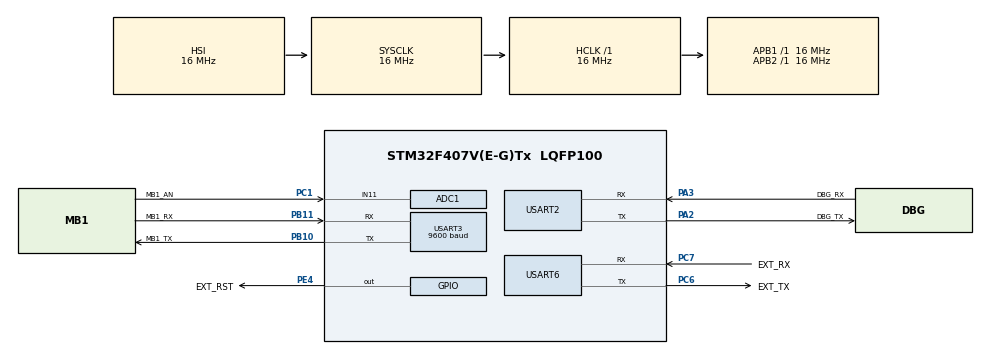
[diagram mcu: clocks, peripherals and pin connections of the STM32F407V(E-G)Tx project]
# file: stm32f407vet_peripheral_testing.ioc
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ADC1.Channel-0\#ChannelRegularConversion=ADC_CHANNEL_11
ADC1.NbrOfConversionFlag=1
ADC1.Rank-0\#ChannelRegularConversion=1
ADC1.SamplingTime-0\#ChannelRegularConversion=ADC_SAMPLETIME_3CYCLES
ADC1.master=1
Dma.Request0=USART2_TX
Dma.Request1=USART6_TX
Dma.Request2=USART3_RX
Dma.Request3=USART6_RX
Dma.USART2_TX.0.Direction=DMA_MEMORY_TO_PERIPH
Dma.USART2_TX.0.FIFOMode=DMA_FIFOMODE_ENABLE
Dma.USART2_TX.0.FIFOThreshold=DMA_FIFO_THRESHOLD_FULL
Dma.USART2_TX.0.Instance=DMA1_Stream6
Dma.USART2_TX.0.MemBurst=DMA_MBURST_SINGLE
Dma.USART2_TX.0.MemDataAlignment=DMA_MDATAALIGN_BYTE
Dma.USART2_TX.0.MemInc=DMA_MINC_ENABLE
Dma.USART2_TX.0.Mode=DMA_NORMAL
Dma.USART2_TX.0.PeriphBurst=DMA_PBURST_SINGLE
Dma.USART2_TX.0.PeriphDataAlignment=DMA_PDATAALIGN_BYTE
Dma.USART2_TX.0.PeriphInc=DMA_PINC_DISABLE
Dma.USART2_TX.0.Priority=DMA_PRIORITY_LOW
Dma.USART3_RX.2.Direction=DMA_PERIPH_TO_MEMORY
Dma.USART3_RX.2.FIFOMode=DMA_FIFOMODE_ENABLE
Dma.USART3_RX.2.FIFOThreshold=DMA_FIFO_THRESHOLD_FULL
Dma.USART3_RX.2.Instance=DMA1_Stream1
Dma.USART3_RX.2.MemBurst=DMA_MBURST_SINGLE
Dma.USART3_RX.2.MemDataAlignment=DMA_MDATAALIGN_BYTE
Dma.USART3_RX.2.MemInc=DMA_MINC_ENABLE
Dma.USART3_RX.2.Mode=DMA_NORMAL
Dma.USART3_RX.2.PeriphBurst=DMA_PBURST_SINGLE
Dma.USART3_RX.2.PeriphDataAlignment=DMA_PDATAALIGN_BYTE
Dma.USART3_RX.2.PeriphInc=DMA_PINC_DISABLE
Dma.USART3_RX.2.Priority=DMA_PRIORITY_LOW
Dma.USART6_RX.3.Direction=DMA_PERIPH_TO_MEMORY
Dma.USART6_RX.3.FIFOMode=DMA_FIFOMODE_ENABLE
Dma.USART6_RX.3.FIFOThreshold=DMA_FIFO_THRESHOLD_FULL
Dma.USART6_RX.3.Instance=DMA2_Stream1
Dma.USART6_RX.3.MemBurst=DMA_MBURST_SINGLE
Dma.USART6_RX.3.MemDataAlignment=DMA_MDATAALIGN_BYTE
Dma.USART6_RX.3.MemInc=DMA_MINC_ENABLE
Dma.USART6_RX.3.Mode=DMA_NORMAL
Dma.USART6_RX.3.PeriphBurst=DMA_PBURST_SINGLE
Dma.USART6_RX.3.PeriphDataAlignment=DMA_PDATAALIGN_BYTE
Dma.USART6_RX.3.PeriphInc=DMA_PINC_DISABLE
Dma.USART6_RX.3.Priority=DMA_PRIORITY_LOW
Dma.USART6_TX.1.Direction=DMA_MEMORY_TO_PERIPH
Dma.USART6_TX.1.FIFOMode=DMA_FIFOMODE_ENABLE
Dma.USART6_TX.1.FIFOThreshold=DMA_FIFO_THRESHOLD_FULL
Dma.USART6_TX.1.Instance=DMA2_Stream6
Dma.USART6_TX.1.MemBurst=DMA_MBURST_SINGLE
Dma.USART6_TX.1.MemDataAlignment=DMA_MDATAALIGN_BYTE
Dma.USART6_TX.1.MemInc=DMA_MINC_ENABLE
Dma.USART6_TX.1.Mode=DMA_NORMAL
Dma.USART6_TX.1.PeriphBurst=DMA_PBURST_SINGLE
Dma.USART6_TX.1.PeriphDataAlignment=DMA_PDATAALIGN_BYTE
Dma.USART6_TX.1.PeriphInc=DMA_PINC_DISABLE
Dma.USART6_TX.1.Priority=DMA_PRIORITY_LOW
Mcu.Family=STM32F4
Mcu.Name=STM32F407V(E-G)Tx
Mcu.Package=LQFP100
NVIC.ADC_IRQn=true\:0\:0\:false\:false\:true\:true\:true\:true
NVIC.DMA1_Stream1_IRQn=true\:0\:0\:false\:false\:true\:false\:true\:true
NVIC.DMA1_Stream6_IRQn=true\:0\:0\:false\:false\:true\:false\:true\:true
NVIC.DMA2_Stream1_IRQn=true\:0\:0\:false\:false\:true\:false\:true\:true
NVIC.DMA2_Stream6_IRQn=true\:0\:0\:false\:false\:true\:false\:true\:true
NVIC.PriorityGroup=NVIC_PRIORITYGROUP_4
NVIC.USART2_IRQn=true\:0\:0\:false\:false\:true\:true\:true\:true
NVIC.USART3_IRQn=true\:0\:0\:false\:false\:true\:true\:true\:true
NVIC.USART6_IRQn=true\:0\:0\:false\:false\:true\:true\:true\:true
PA13.Mode=Trace_Asynchronous_SW
PA13.Signal=SYS_JTMS-SWDIO
PA14.Mode=Trace_Asynchronous_SW
PA14.Signal=SYS_JTCK-SWCLK
PA2.GPIO_Label=DBG_TX
PA2.Mode=Asynchronous
PA2.Signal=USART2_TX
PA3.GPIO_Label=DBG_RX
PA3.Mode=Asynchronous
PA3.Signal=USART2_RX
PB10.GPIO_Label=MB1_TX
PB10.Mode=Asynchronous
PB10.Signal=USART3_TX
PB11.GPIO_Label=MB1_RX
PB11.Mode=Asynchronous
PB11.Signal=USART3_RX
PB3.Mode=Trace_Asynchronous_SW
PB3.Signal=SYS_JTDO-SWO
PC1.GPIO_Label=MB1_AN
PC1.Signal=ADCx_IN11
PC6.GPIO_Label=EXT_TX
PC6.Mode=Asynchronous
PC6.Signal=USART6_TX
PC7.GPIO_Label=EXT_RX
PC7.Mode=Asynchronous
PC7.Signal=USART6_RX
PE4.GPIO_Label=EXT_RST
PE4.GPIO_PuPd=GPIO_PULLUP
PE4.PinState=GPIO_PIN_SET
PE4.Signal=GPIO_Output
ProjectManager.HeapSize=0x200
ProjectManager.StackSize=0x400
ProjectManager.TargetToolchain=STM32CubeIDE
RCC.48MHZClocksFreq_Value=42000000
RCC.AHBFreq_Value=16000000
RCC.APB1Freq_Value=16000000
RCC.APB1TimFreq_Value=16000000
RCC.APB2Freq_Value=16000000
RCC.APB2TimFreq_Value=16000000
RCC.CortexFreq_Value=16000000
RCC.HCLKFreq_Value=16000000
RCC.HSE_VALUE=25000000
RCC.HSI_VALUE=16000000
RCC.LSE_VALUE=32768
RCC.PLLM=8
RCC.PLLN=84
RCC.SYSCLKFreq_VALUE=16000000
RCC.VCOOutputFreq_Value=168000000
SH.ADCx_IN11.0=ADC1_IN11,IN11
USART2.VirtualMode=VM_ASYNC
USART3.BaudRate=9600
USART3.VirtualMode=VM_ASYNC
USART6.VirtualMode=VM_ASYNC
VP_ADC1_TempSens_Input.Mode=IN-TempSens
VP_ADC1_Vbat_Input.Mode=IN-Vbat
VP_ADC1_Vref_Input.Mode=IN-Vrefint
board=custom

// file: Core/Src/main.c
/* USER CODE BEGIN Header */
/**
  ******************************************************************************
  * @file           : main.c
  * @brief          : Main program body
  ******************************************************************************
  * @attention
  *
  * Copyright (c) 2023 STMicroelectronics.
  * All rights reserved.
  *
  * This software is licensed under terms that can be found in the LICENSE file
  * in the root directory of this software component.
  * If no LICENSE file comes with this software, it is provided AS-IS.
  *
  ******************************************************************************
  */
/* USER CODE END Header */
#include "main.h"
#include "adc.h"
#include "dma.h"
#include "usart.h"
#include "gpio.h"

/* USER CODE BEGIN Includes */
#include "string.h"
#include "stdio.h"
/* USER CODE END Includes */

void SystemClock_Config(void);

/* USER CODE BEGIN 0 */
char *simText_frm = "UART:%d run test:%d\r";
char simText[32];
static uint32_t uCount = 0;
char cReceiveText2[32];
char cReceiveText3[32];
char cReceiveText6[32];
uint8_t next2 = 0, next3 = 0, next6 = 0, txtLen;

/* USER CODE END 0 */

int main(void)
{

  /* MCU Configuration--------------------------------------------------------*/

  /* Reset of all peripherals, Initializes the Flash interface and the Systick. */
  HAL_Init();

  /* Configure the system clock */
  SystemClock_Config();

  /* Initialize all configured peripherals */
  MX_GPIO_Init();
  MX_DMA_Init();
  MX_ADC1_Init();
  MX_USART2_UART_Init();
  MX_USART3_UART_Init();
  MX_USART6_UART_Init();
  /* USER CODE BEGIN 2 */
  HAL_GPIO_WritePin(EXT_RST_GPIO_Port, EXT_RST_Pin, GPIO_PIN_RESET);

   HAL_UART_Receive_IT(&huart2, (uint8_t *) &cReceiveText2, 1);
   HAL_UART_Receive_DMA(&huart3, (uint8_t *) &cReceiveText3, 1);
   HAL_UART_Receive_DMA(&huart6, (uint8_t *) &cReceiveText6, 1);

   HAL_GPIO_WritePin(EXT_RST_GPIO_Port, EXT_RST_Pin, GPIO_PIN_SET);
  /* USER CODE END 2 */

  /* Infinite loop */
  /* USER CODE BEGIN WHILE */
  while (1)
  {
//	  	  sprintf(simText, simText_frm, 2, uCount);
//	  	  HAL_UART_Transmit(&huart2, (uint8_t *) simText, strlen(simText), 500);
//	  	  HAL_Delay(500);
	  	  sprintf(simText, simText_frm, 3, uCount);
	  	  txtLen = strlen(simText);
	  	  HAL_UART_Transmit(&huart3, (uint8_t *) &simText, txtLen, 1000);
	  	  HAL_Delay(500);
	  	  sprintf(simText, simText_frm, 6, uCount);
	  	  txtLen = strlen(simText);
	  	  HAL_UART_Transmit(&huart6, (uint8_t *) &simText, txtLen, 1000);
	  	  HAL_Delay(500);
    /* USER CODE END WHILE */

    /* USER CODE BEGIN 3 */
	  	  uCount++;
  }
  /* USER CODE END 3 */
}

void SystemClock_Config(void)
{
  RCC_OscInitTypeDef RCC_OscInitStruct = {0};
  RCC_ClkInitTypeDef RCC_ClkInitStruct = {0};

  /** Configure the main internal regulator output voltage
  */
  __HAL_RCC_PWR_CLK_ENABLE();
  __HAL_PWR_VOLTAGESCALING_CONFIG(PWR_REGULATOR_VOLTAGE_SCALE1);

  /** Initializes the RCC Oscillators according to the specified parameters
  * in the RCC_OscInitTypeDef structure.
  */
  RCC_OscInitStruct.OscillatorType = RCC_OSCILLATORTYPE_HSI;
  RCC_OscInitStruct.HSIState = RCC_HSI_ON;
  RCC_OscInitStruct.HSICalibrationValue = RCC_HSICALIBRATION_DEFAULT;
  RCC_OscInitStruct.PLL.PLLState = RCC_PLL_NONE;
  if (HAL_RCC_OscConfig(&RCC_OscInitStruct) != HAL_OK)
  {
    Error_Handler();
  }

  /** Initializes the CPU, AHB and APB buses clocks
  */
  RCC_ClkInitStruct.ClockType = RCC_CLOCKTYPE_HCLK|RCC_CLOCKTYPE_SYSCLK
                              |RCC_CLOCKTYPE_PCLK1|RCC_CLOCKTYPE_PCLK2;
  RCC_ClkInitStruct.SYSCLKSource = RCC_SYSCLKSOURCE_HSI;
  RCC_ClkInitStruct.AHBCLKDivider = RCC_SYSCLK_DIV1;
  RCC_ClkInitStruct.APB1CLKDivider = RCC_HCLK_DIV1;
  RCC_ClkInitStruct.APB2CLKDivider = RCC_HCLK_DIV1;

  if (HAL_RCC_ClockConfig(&RCC_ClkInitStruct, FLASH_LATENCY_0) != HAL_OK)
  {
    Error_Handler();
  }
}

/* USER CODE BEGIN 4 */
void HAL_UART_RxCpltCallback(UART_HandleTypeDef *huart)
{
	if (huart->Instance == USART2) {
//		if (cReceiveText2[next2] == '\r')
		HAL_UART_Transmit_DMA(&huart6, (uint8_t *) &cReceiveText2, 1);
		HAL_UART_Receive_IT(&huart2, (uint8_t*) &cReceiveText2, 1);
//		if (next2 == sizeof(cReceiveText2) - 1)
//		{
//			next2 = 0;
//		} else {
//			next2++;
//		}
//		HAL_UART_Receive_IT(&huart2, (uint8_t*) &cReceiveText2 + next2, 1);

	} else if (huart->Instance == USART3) {
//		HAL_UART_Transmit_DMA(&huart2, (uint8_t *) &cReceiveText3, 1);
//		HAL_UART_Receive_DMA(&huart3, (uint8_t *) &cReceiveText3, 1);
		if (cReceiveText3[next3] == '\r' && next3 < sizeof(cReceiveText3) - 1) {

			HAL_UART_Transmit_DMA(&huart2, (uint8_t *) &cReceiveText3, strlen(cReceiveText3));
			next3 = 0;
//			memset(cReceiveText3, 0x00, sizeof(cReceiveText3));
		} else {
			next3++;
		}

		if (next3 == sizeof(cReceiveText3)){
			next3 = 0;
		}

		HAL_UART_Receive_DMA(&huart3, (uint8_t *) &cReceiveText3 + next3, 1);

	} else if (huart->Instance == USART6) {
//		HAL_UART_Transmit_DMA(&huart2, (uint8_t *) &cReceiveText6, 1);
//		HAL_UART_Receive_IT(&huart6, (uint8_t *) &cReceiveText6, 1);
//		if (next6 == sizeof(cReceiveText6) - 1) {
		if (cReceiveText6[next6] == '\r' && next6 < sizeof(cReceiveText6) - 1) {
			HAL_UART_Transmit_DMA(&huart2, (uint8_t *) &cReceiveText6, strlen(cReceiveText6));
//			memset(cReceiveText6, 0x00, sizeof(cReceiveText6));
			next6 = 0;
		} else {
			next6++;
		}

		if (next6 == sizeof(cReceiveText6)){
			next6 = 0;
		}

		HAL_UART_Receive_DMA(&huart6, (uint8_t *) &cReceiveText6 + next6, 1);
	}
}

void HAL_UART_TxCpltCallback(UART_HandleTypeDef *huart)
{

}
/* USER CODE END 4 */

void Error_Handler(void)
{
  __disable_irq();
  while (1)
  {
  }
}
